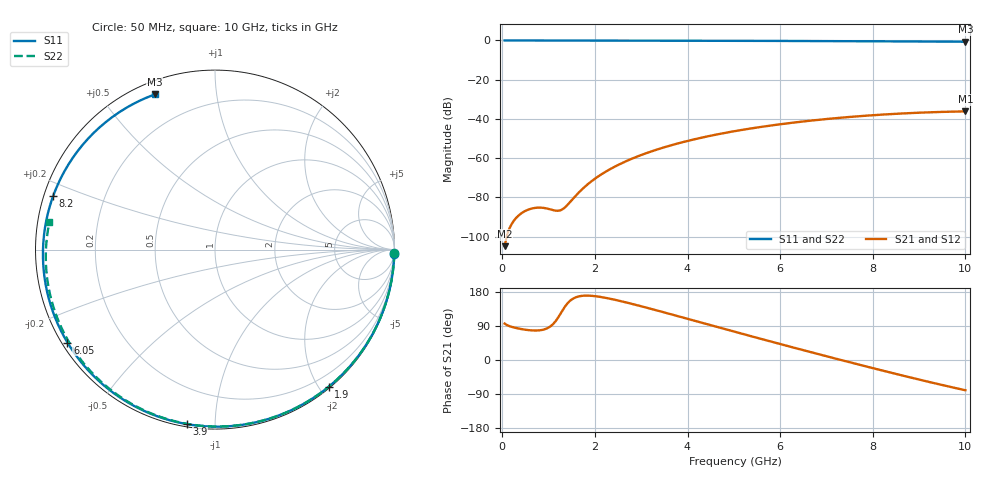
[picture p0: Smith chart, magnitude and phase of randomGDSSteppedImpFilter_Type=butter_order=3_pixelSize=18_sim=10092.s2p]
! freq	dB(S11)	phase(S11)	dB(S12)	phase(S12)
!  dB(S21)	phase(S21)	dB(S22)	phase(S22)
!S-par simulation data
#  GHz  S  DB  R 50
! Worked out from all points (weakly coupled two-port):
!   200 points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, 50 MHz to 10 GHz, reference 50 ohm
!   highest |S21| = -36.16 dB at 10 GHz (marker M1); lowest = -104.9 dB at 50 MHz (marker M2)
!   lowest |S11| = -0.7 dB at 10 GHz (marker M3), VSWR 26.46, Z = 2.77 + j34.2 ohm
!   |S11| at or under -10 dB: nowhere
!   |S22| runs from -0.6 to 0.0 dB; largest |S21 - S12| = 0
!   S11 on the Smith chart (normalised r, x): 50 MHz: 2, -87; 1.9 GHz: 0.02, -2.12; 3.9 GHz: 0.01, -0.85; 6.05 GHz: 0.02, -0.29; 8.2 GHz: 0.03, +0.16; 10 GHz: 0.06, +0.68
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0.05  -0.01 -1.3  -104.86 96.2  -104.86 96.2  -0.00 -1.1
0.75  -0.03 -20.2  -85.25 77.9  -85.25 77.9  -0.02 -16.5
1.55  -0.05 -41.4  -80.05 163.4  -80.05 163.4  -0.04 -33.8
1.75  -0.06 -46.6  -75.26 169.6  -75.26 169.6  -0.05 -38.0
1.9  -0.06 -50.4  -72.26 169.6  -72.26 169.6  -0.05 -41.2
2.2  -0.07 -58.0  -67.36 164.7  -67.36 164.7  -0.06 -47.5
2.55  -0.08 -66.8  -62.90 155.6  -62.90 155.6  -0.07 -54.7
2.95  -0.10 -76.6  -58.85 143.4  -58.85 143.4  -0.08 -62.8
3.4  -0.11 -87.4  -55.16 128.8  -55.16 128.8  -0.09 -71.7
3.9  -0.13 -99.2  -51.82 112.1  -51.82 112.1  -0.11 -81.3
4.45  -0.16 -111.8  -48.80 93.6  -48.80 93.6  -0.13 -91.6
5.05  -0.19 -125.4  -46.10 73.5  -46.10 73.5  -0.16 -102.6
5.55  -0.22 -136.6  -44.20 56.9  -44.20 56.9  -0.18 -111.5
6.05  -0.25 -147.8  -42.57 40.5  -42.57 40.5  -0.21 -120.3
6.7  -0.30 -162.5  -40.78 19.5  -40.78 19.5  -0.25 -131.5
7.45  -0.37 180.0  -39.10 -4.3  -39.10 -4.3  -0.31 -144.3
8.2  -0.45 161.5  -37.80 -27.6  -37.80 -27.6  -0.38 -157.2
8.35  -0.46 157.7  -37.59 -32.2  -37.59 -32.2  -0.39 -159.8
8.75  -0.51 147.2  -37.09 -44.2  -37.09 -44.2  -0.44 -166.7
9.15  -0.56 136.2  -36.69 -56.0  -36.69 -56.0  -0.48 -173.8
9.6  -0.61 123.2  -36.35 -68.8  -36.35 -68.8  -0.53 178.1
10  -0.66 111.2  -36.16 -79.8  -36.16 -79.8  -0.58 170.6
